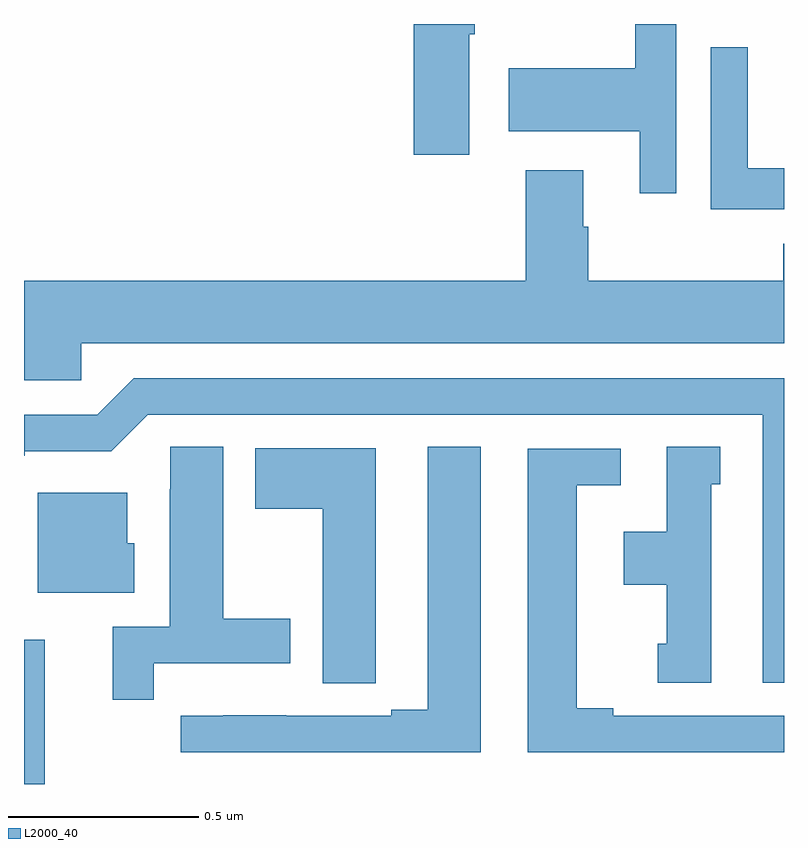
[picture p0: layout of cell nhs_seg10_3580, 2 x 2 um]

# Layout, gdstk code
import gdstk
lib = gdstk.Library(unit=1e-6, precision=1e-09)
def R(c, l, rs):  # rectangles x0, y0, x1, y1
    for r in rs: c.add(gdstk.rectangle(r[:2], r[2:], *l))
def P(c, l, *ps):  # polygons
    for p in ps: c.add(gdstk.Polygon(p, *l))
L2000_40 = (2000, 40)

nhs_seg10_3580 = lib.new_cell('nhs_seg10_3580')
R(nhs_seg10_3580, L2000_40, [(155,1288.5,155.054,1288.879)])
P(nhs_seg10_3580, L2000_40, [(156.172,1290.473),(156.186,1290.473),(156.186,1290.5),(156.026,1290.5),(156.026,1290.156),(156.172,1290.156)],
  [(156.717,1290.5),(156.609,1290.5),(156.609,1290.384),(156.276,1290.384),(156.276,1290.218),(156.62,1290.218),(156.62,1290.054),(156.717,1290.054)],
  [(157,1290.121),(156.904,1290.121),(156.904,1290.439),(156.807,1290.439),(156.807,1290.012),(157,1290.012)],
  [(155.151,1289.66),(157,1289.66),(157,1289.922),(156.998,1289.922),(156.998,1289.824),(156.485,1289.824),(156.485,1289.966),(156.472,1289.966),(156.472,1290.115),(156.32,1290.115),(156.32,1289.824),(155,1289.824),(155,1289.562),(155.151,1289.562)],
  [(157,1289.568),(155.289,1289.568),(155.193,1289.472),(155,1289.472),(155,1289.364),(155.002,1289.364),(155.002,1289.376),(155.229,1289.376),(155.325,1289.472),(156.944,1289.472),(156.944,1288.767),(157,1288.767)],
  [(156.202,1289.387),(156.062,1289.387),(156.062,1288.695),(155.966,1288.695),(155.966,1288.68),(155.69,1288.68),(155.69,1288.681),(155.524,1288.681),(155.524,1288.68),(155.412,1288.68),(155.412,1288.584),(156.202,1288.584)],
  [(155.342,1288.818),(155.701,1288.818),(155.701,1288.935),(155.524,1288.935),(155.524,1289.387),(155.385,1289.387),(155.385,1289.276),(155.384,1289.276),(155.384,1288.914),(155.234,1288.914),(155.234,1288.722),(155.342,1288.722)],
  [(156.808,1289.289),(156.832,1289.289),(156.832,1289.387),(156.692,1289.387),(156.692,1289.164),(156.578,1289.164),(156.578,1289.024),(156.692,1289.024),(156.692,1288.869),(156.668,1288.869),(156.668,1288.767),(156.808,1288.767)],
  [(155.925,1288.873),(155.926,1288.873),(155.926,1289.383),(155.609,1289.383),(155.609,1289.224),(155.786,1289.224),(155.786,1288.765),(155.925,1288.765)],
  [(157,1288.68),(156.55,1288.68),(156.55,1288.7),(156.454,1288.7),(156.454,1289.286),(156.571,1289.286),(156.571,1289.382),(156.326,1289.382),(156.326,1288.584),(157,1288.584)],
  [(155.29,1289.133),(155.272,1289.133),(155.272,1289.266),(155.036,1289.266),(155.036,1289.003),(155.29,1289.003)])

lib.write_gds('nhs_seg10_3580.gds')
